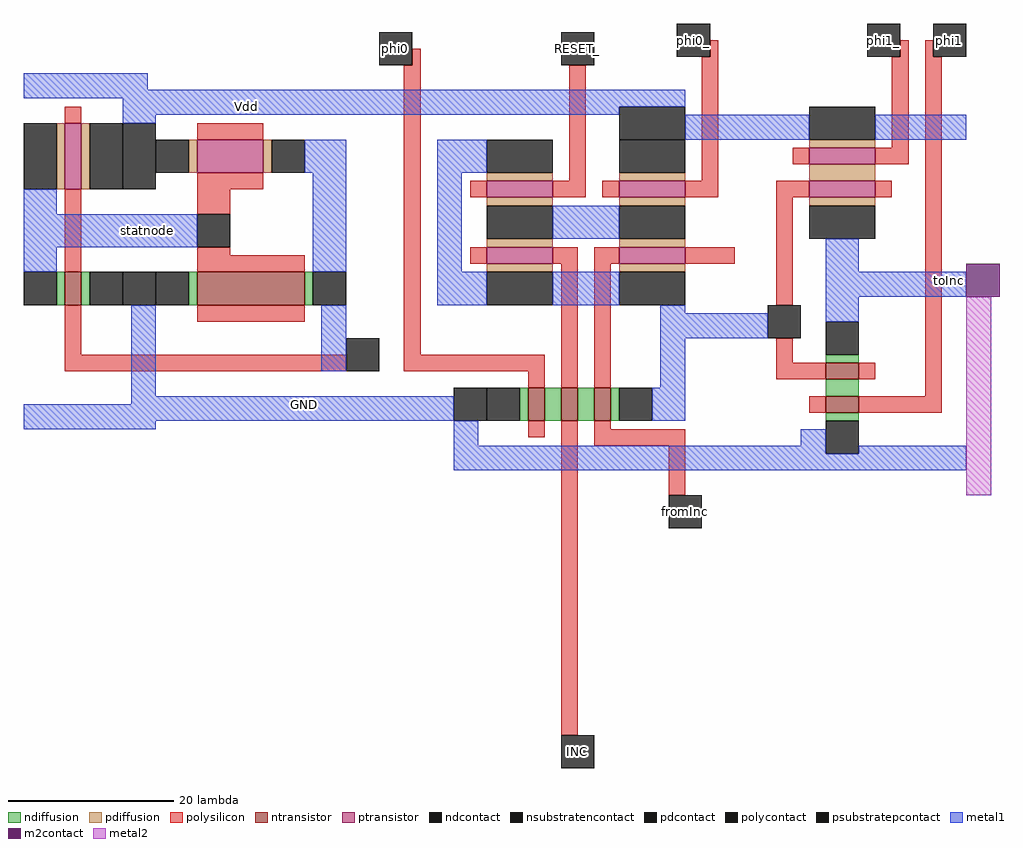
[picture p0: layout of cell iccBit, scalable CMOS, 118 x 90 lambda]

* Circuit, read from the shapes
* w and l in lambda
.subckt iccBit GND INC RESET_ Vdd fromInc phi0 phi0_ phi1 phi1_ statnode toInc
M1 GND n1 statnode GND nfet w=4 l=2
M2 n1 statnode GND GND nfet w=4 l=13
M3 n2 phi0 GND GND nfet w=4 l=2
M4 n3 INC n2 GND nfet w=4 l=2
M5 n4 fromInc n3 GND nfet w=4 l=2
M6 n5 phi1 GND GND nfet w=4 l=2
M7 toInc n4 n5 GND nfet w=4 l=2
M8 Vdd n1 statnode Vdd pfet w=8 l=2
M9 n1 statnode Vdd Vdd pfet w=4 l=8
M10 n6 INC n4 Vdd pfet w=8 l=2
M11 n4 RESET_ n6 Vdd pfet w=8 l=2
M12 n6 fromInc n4 Vdd pfet w=8 l=2
M13 Vdd phi0_ n6 Vdd pfet w=8 l=2
M14 n7 n4 toInc Vdd pfet w=8 l=2
M15 Vdd phi1_ n7 Vdd pfet w=8 l=2
.ends

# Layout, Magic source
magic
tech scmos
<< polysilicon >>
rect 93 92 94 94
rect 129 93 130 95
rect 152 93 153 95
rect 51 85 53 87
rect 67 83 75 85
rect 67 77 75 79
rect 51 67 53 77
rect 67 74 71 77
rect 67 69 71 70
rect 67 67 80 69
rect 51 57 53 63
rect 67 61 80 63
rect 51 55 85 57
rect 92 57 94 92
rect 112 78 114 92
rect 128 78 130 93
rect 151 82 153 93
rect 139 80 141 82
rect 149 80 153 82
rect 155 93 156 95
rect 100 76 102 78
rect 110 76 114 78
rect 116 76 118 78
rect 126 76 130 78
rect 137 76 141 78
rect 149 76 151 78
rect 100 68 102 70
rect 110 68 113 70
rect 92 55 109 57
rect 107 53 109 55
rect 111 53 113 68
rect 115 68 118 70
rect 126 68 132 70
rect 115 53 117 68
rect 137 63 139 76
rect 137 56 139 59
rect 137 54 143 56
rect 147 54 149 56
rect 155 52 157 93
rect 141 50 143 52
rect 147 50 157 52
rect 107 47 109 49
rect 111 11 113 49
rect 115 48 117 49
rect 115 46 126 48
rect 124 40 126 46
<< ndiffusion >>
rect 50 63 51 67
rect 53 63 54 67
rect 66 63 67 67
rect 80 63 81 67
rect 143 56 147 57
rect 106 49 107 53
rect 109 49 111 53
rect 113 49 115 53
rect 117 49 118 53
rect 143 52 147 54
rect 143 49 147 50
<< pdiffusion >>
rect 50 77 51 85
rect 53 77 54 85
rect 66 79 67 83
rect 75 79 76 83
rect 102 78 110 79
rect 118 78 126 79
rect 141 82 149 83
rect 141 78 149 80
rect 102 75 110 76
rect 102 70 110 71
rect 118 75 126 76
rect 118 70 126 71
rect 102 67 110 68
rect 118 67 126 68
rect 141 75 149 76
<< metal1 >>
rect 46 89 61 91
rect 46 88 126 89
rect 58 87 126 88
rect 58 86 118 87
rect 58 85 62 86
rect 126 83 141 86
rect 149 83 160 86
rect 80 79 85 83
rect 46 74 50 77
rect 46 70 67 74
rect 46 67 50 70
rect 81 67 85 79
rect 96 79 102 83
rect 96 67 99 79
rect 110 71 118 75
rect 143 67 147 71
rect 96 63 102 67
rect 110 63 118 67
rect 143 64 160 67
rect 59 52 62 63
rect 82 55 85 63
rect 123 62 126 63
rect 123 59 136 62
rect 143 61 147 64
rect 123 53 126 59
rect 59 51 98 52
rect 46 49 98 51
rect 122 49 126 53
rect 46 48 62 49
rect 98 46 101 49
rect 140 46 143 48
rect 98 45 143 46
rect 147 45 160 46
rect 98 43 160 45
<< metal2 >>
rect 160 40 163 64
<< ntransistor >>
rect 51 63 53 67
rect 67 63 80 67
rect 143 54 147 56
rect 107 49 109 53
rect 111 49 113 53
rect 115 49 117 53
rect 143 50 147 52
<< ptransistor >>
rect 51 77 53 85
rect 67 79 75 83
rect 141 80 149 82
rect 102 76 110 78
rect 118 76 126 78
rect 141 76 149 78
rect 102 68 110 70
rect 118 68 126 70
<< polycontact >>
rect 89 92 93 96
rect 111 92 115 96
rect 125 93 129 97
rect 148 93 152 97
rect 67 70 71 74
rect 85 55 89 59
rect 156 93 160 97
rect 136 59 140 63
rect 124 36 128 40
rect 111 7 115 11
<< ndcontact >>
rect 46 63 50 67
rect 54 63 58 67
rect 62 63 66 67
rect 81 63 85 67
rect 143 57 147 61
rect 102 49 106 53
rect 118 49 122 53
rect 143 45 147 49
<< pdcontact >>
rect 46 77 50 85
rect 54 77 58 85
rect 62 79 66 83
rect 76 79 80 83
rect 102 79 110 83
rect 118 79 126 83
rect 141 83 149 87
rect 102 71 110 75
rect 118 71 126 75
rect 102 63 110 67
rect 118 63 126 67
rect 141 71 149 75
<< m2contact >>
rect 160 64 164 68
<< psubstratepcontact >>
rect 58 63 62 67
rect 98 49 102 53
<< nsubstratencontact >>
rect 58 77 62 85
rect 118 83 126 87
<< labels >>
rlabel metal1 61 72 61 72 5 statnode
rlabel polycontact 113 94 113 94 5 RESET_
rlabel polycontact 127 95 127 95 5 phi0_
rlabel polycontact 91 94 91 94 4 phi0
rlabel polycontact 150 95 150 95 5 phi1_
rlabel polycontact 158 95 158 95 5 phi1
rlabel metal1 73 87 73 87 1 Vdd
rlabel metal1 80 51 80 51 1 GND
rlabel metal1 158 66 158 66 7 toInc
rlabel polycontact 126 38 126 38 5 fromInc
rlabel polycontact 113 9 113 9 5 INC
<< end >>
